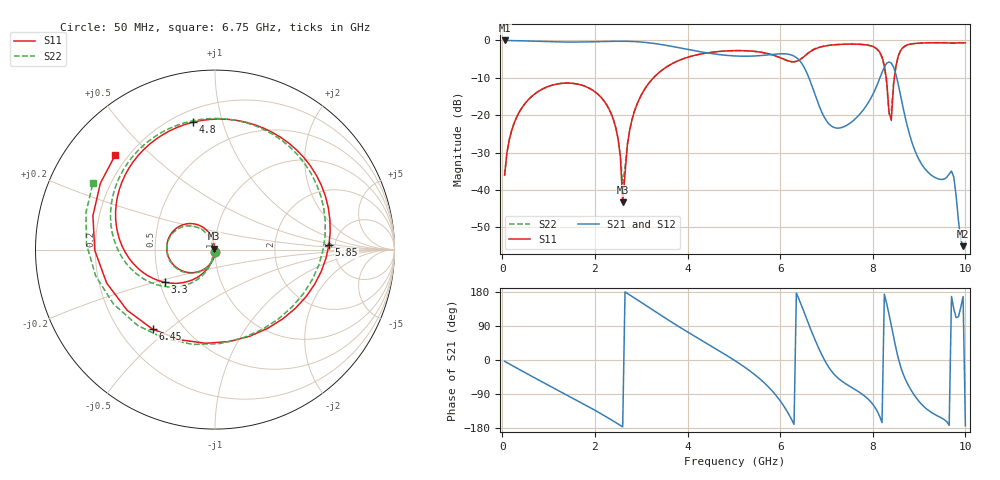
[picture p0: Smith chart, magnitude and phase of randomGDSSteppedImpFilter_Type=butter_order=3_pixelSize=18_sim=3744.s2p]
! freq	dB(S11)	phase(S11)	dB(S12)	phase(S12)
!  dB(S21)	phase(S21)	dB(S22)	phase(S22)
!S-par simulation data
#  GHz  S  DB  R 50
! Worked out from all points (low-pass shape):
!   200 points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, 50 MHz to 10 GHz, reference 50 ohm
!   highest |S21| = -0.02 dB at 50 MHz (marker M1); lowest = -55.0 dB at 9.95 GHz (marker M2)
!   |S21| within 3 dB of the highest: start of sweep to 4.268 GHz
!   lowest |S11| = -43.3 dB at 2.6 GHz (marker M3), VSWR 1.01, Z = 49.6 + j0.568 ohm
!   |S11| at or under -10 dB: start of sweep to 3.266 GHz; 8.291 GHz to 8.467 GHz (176 MHz wide, 2.1 % of centre)
!   |S22| runs from -38.3 to -0.6 dB; largest |S21 - S12| = 0
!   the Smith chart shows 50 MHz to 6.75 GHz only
!   S11 on the Smith chart (normalised r, x): 50 MHz: 1.00, -0.03; 3.3 GHz: 0.53, -0.22; 4.8 GHz: 0.27, +0.81; 5.85 GHz: 4.45, +0.37; 6.45 GHz: 0.34, -0.44; 6.75 GHz: 0.15, +0.39
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0.05  -36.01 -88.0  -0.02 -3.5  -0.02 -3.5  -36.01 -87.9
0.55  -16.02 -127.9  -0.17 -37.2  -0.17 -37.2  -16.02 -126.9
1.75  -12.10 152.3  -0.42 -115.7  -0.42 -115.7  -12.11 156.2
2.4  -21.19 107.4  -0.24 -161.3  -0.24 -161.3  -21.17 116.1
2.6  -43.32 123.1  -0.23 -176.4  -0.23 -176.4  -38.29 159.1
2.8  -21.25 -107.8  -0.29 167.9  -0.29 167.9  -21.15 -107.6
3.3  -9.56 -146.7  -0.86 128.0  -0.86 128.0  -9.55 -141.4
3.4  -8.44 -154.7  -1.04 120.0  -1.04 120.0  -8.42 -148.9
4.8  -2.85 99.7  -3.95 15.5  -3.95 15.5  -2.84 110.7
5.05  -2.73 80.4  -4.18 -3.8  -4.18 -3.8  -2.73 92.1
5.85  -3.94 2.2  -3.74 -84.6  -3.74 -84.6  -3.96 14.1
6.45  -4.98 -128.1  -5.86 147.4  -5.86 147.4  -4.90 -119.1
6.7  -2.64 149.9  -12.64 68.7  -12.64 68.7  -2.52 163.9
6.75  -2.32 136.6  -14.39 54.0  -14.39 54.0  -2.22 151.4
7.65  -1.00 13.4  -20.63 -80.3  -20.63 -80.3  -1.02 31.5
8.15  -3.13 -50.1  -10.16 -148.9  -10.16 -148.9  -3.30 -35.4
8.35  -19.00 -118.6  -5.76 121.0  -5.76 121.0  -19.63 -124.9
8.55  -4.16 44.1  -11.71 4.9  -11.71 4.9  -4.31 67.1
8.8  -1.02 -2.5  -25.41 -73.8  -25.41 -73.8  -1.06 19.0
9.7  -0.74 -57.2  -34.92 167.7  -34.92 167.7  -0.71 -37.9
9.95  -0.67 -66.7  -55.00 167.5  -55.00 167.5  -0.62 -47.6
10  -0.67 -68.6  -54.83 -173.6  -54.83 -173.6  -0.62 -49.6
